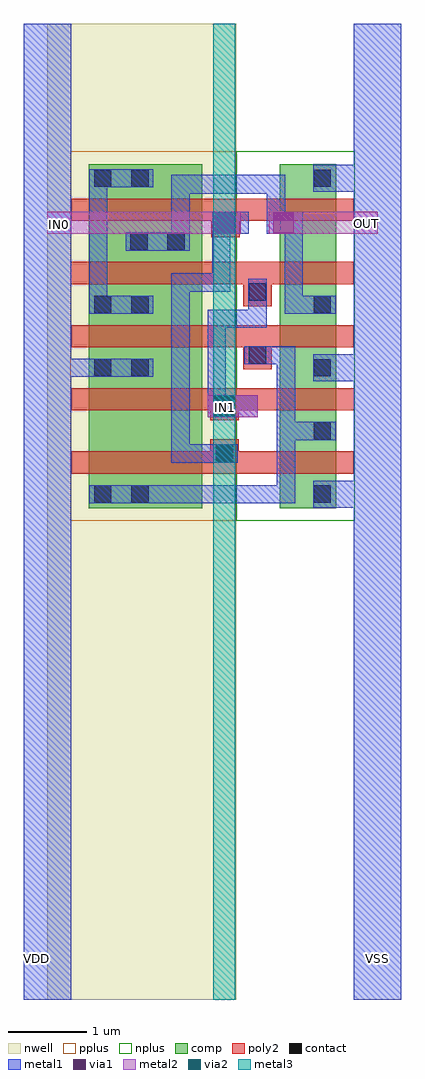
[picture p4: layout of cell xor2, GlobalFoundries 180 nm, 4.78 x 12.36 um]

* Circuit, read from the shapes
.subckt xor2 IN0 IN1 OUT VDD VSS
XM1 n1 IN0 VSS VSUBS nfet_03v3 w=0.72u l=0.28u
XM2 VSS IN1 n1 VSUBS nfet_03v3 w=0.72u l=0.28u
XM3 OUT n1 VSS VSUBS nfet_03v3 w=0.72u l=0.28u
XM4 n2 IN1 OUT VSUBS nfet_03v3 w=0.72u l=0.28u
XM5 VSS IN0 n2 VSUBS nfet_03v3 w=0.72u l=0.28u
XM6 n3 IN0 n1 n4 pfet_03v3 w=1.44u l=0.28u
XM7 VDD IN1 n3 n4 pfet_03v3 w=1.44u l=0.28u
XM8 n5 n1 VDD n4 pfet_03v3 w=1.44u l=0.28u
XM9 OUT IN1 n5 n4 pfet_03v3 w=1.44u l=0.28u
XM10 n5 IN0 OUT n4 pfet_03v3 w=1.44u l=0.28u
.ends

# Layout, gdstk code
import gdstk
lib = gdstk.Library(unit=1e-6, precision=5e-09)
def R(c, l, rs):  # rectangles x0, y0, x1, y1
    for r in rs: c.add(gdstk.rectangle(r[:2], r[2:], *l))
def A(c, l, x, y, w, h, nx, ny, dx, dy):  # array of equal rectangles
    R(c, l, [(x+i*dx, y+j*dy, x+i*dx+w, y+j*dy+h) for i in range(nx) for j in range(ny)])
nwell = (21, 0)
comp = (22, 0)
poly2 = (30, 0)
pplus = (31, 0)
nplus = (32, 0)
contact = (33, 0)
metal1 = (34, 0)
via1 = (35, 0)
metal2 = (36, 0)
via2 = (38, 0)
metal3 = (42, 0)

xor2 = lib.new_cell('xor2')
R(xor2, nwell, [(-2.87,-7.36,-0.48,5)])
R(xor2, comp, [(-2.35,-1.14,-0.91,3.22), (0.07,-1.14,0.79,3.22)])
A(xor2, poly2, -2.57, -0.7, 3.58, 0.28, 1, 3, 0, 1.6)
R(xor2, poly2, [(-0.81,-0.625,-0.45,-0.265), (-0.81,-0.025,-0.45,0.335), (-2.57,0.1,1.015,0.38), (-0.39,0.62,-0.03,0.98), (-0.39,1.42,-0.03,1.78), (-2.575,1.7,1.01,1.98), (-0.795,2.295,-0.435,2.655)])
R(xor2, pplus, [(-2.58,-1.3,-0.48,3.38)])
R(xor2, nplus, [(-0.48,-1.3,1.02,3.38)])
A(xor2, contact, 0.5, -1.07, 0.22, 0.22, 1, 4, 0, 0.8)
R(xor2, contact, [(-2.28,-1.07,-2.06,-0.85), (-1.81,-1.07,-1.59,-0.85), (-0.74,-0.555,-0.52,-0.335), (-0.74,0.045,-0.52,0.265), (-2.28,0.53,-2.06,0.75), (-1.81,0.53,-1.59,0.75), (-0.32,0.69,-0.1,0.91), (-2.28,1.33,-2.06,1.55), (-1.81,1.33,-1.59,1.55), (-0.32,1.49,-0.1,1.71), (-1.82,2.13,-1.6,2.35), (-1.35,2.13,-1.13,2.35), (-0.725,2.365,-0.505,2.585), (-2.28,2.93,-2.06,3.15), (-1.81,2.93,-1.59,3.15), (0.5,2.93,0.72,3.15)])
R(xor2, metal1, [(-3.17,-7.36,-2.57,5), (1.01,-7.36,1.61,5), (0.495,-1.13,1.01,-0.79), (-2.34,-1.075,0.265,-0.845), (0.035,-0.845,0.265,0.915), (-1.3,-0.56,-0.46,-0.33), (-1.3,-0.33,-1.07,1.835), (0.265,-0.275,0.78,-0.045), (-0.84,0.015,-0.21,0.295), (-0.84,0.295,-0.61,1.375), (0.495,0.47,1.01,0.81), (-2.57,0.525,-1.53,0.755), (-0.38,0.685,0.035,0.915), (-0.61,1.145,-0.095,1.375), (-2.34,1.325,-1.53,1.555), (0.135,1.325,0.78,1.555), (-0.325,1.375,-0.095,1.77), (-2.34,1.555,-2.11,2.925), (0.135,1.555,0.365,2.335), (-1.07,1.605,-0.555,1.835), (-0.785,1.835,-0.555,2.335), (-1.88,2.125,-1.07,2.355), (-0.785,2.335,-0.32,2.615), (-0.09,2.335,0.365,2.615), (-1.3,2.355,-1.07,3.085), (-0.09,2.615,0.14,3.085), (-1.07,2.845,-0.09,3.085), (0.495,2.87,1.01,3.21), (-2.34,2.925,-1.53,3.155)])
R(xor2, via1, [(-0.76,0.025,-0.5,0.285), (-0.745,2.345,-0.485,2.605), (-0.01,2.345,0.25,2.605)])
R(xor2, metal2, [(-0.84,0.015,-0.21,0.295), (-2.87,2.335,-0.425,2.615), (-0.07,2.335,1.31,2.615)])
R(xor2, via2, [(-0.76,0.025,-0.5,0.285)])
R(xor2, metal3, [(-0.77,-7.36,-0.49,5)])
xor2.add(gdstk.Label('IN1', (-0.61,0.14), layer=34, texttype=10))
xor2.add(gdstk.Label('VDD', (-3.01,-6.84), layer=34, texttype=10))
xor2.add(gdstk.Label('VSS', (1.31,-6.84), layer=34, texttype=10))
xor2.add(gdstk.Label('IN0', (-2.715,2.45), layer=36, texttype=10))
xor2.add(gdstk.Label('OUT', (1.17,2.47), layer=36, texttype=10))

lib.write_gds('xor2.gds')
